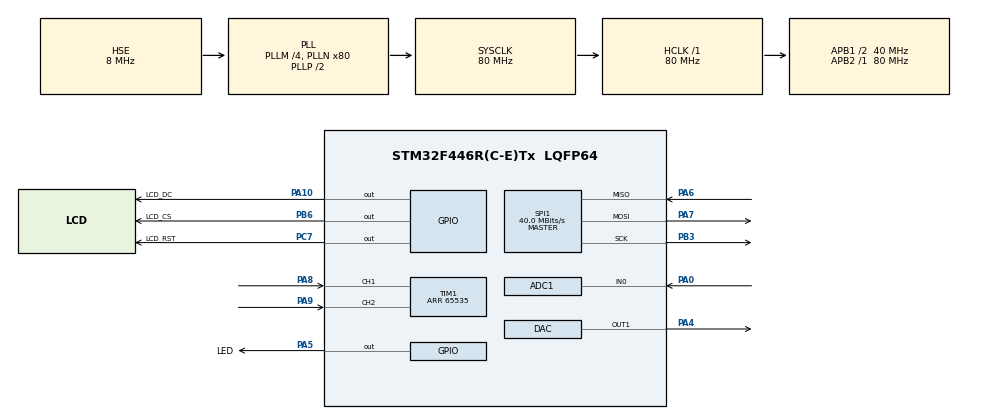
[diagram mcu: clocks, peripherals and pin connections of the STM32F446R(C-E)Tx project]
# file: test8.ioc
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ADC1.Channel-0\#ChannelRegularConversion=ADC_CHANNEL_0
ADC1.ClockPrescaler=ADC_CLOCK_SYNC_PCLK_DIV8
ADC1.ContinuousConvMode=ENABLE
ADC1.ExternalTrigConv=ADC_SOFTWARE_START
ADC1.NbrOfConversionFlag=1
ADC1.Rank-0\#ChannelRegularConversion=1
ADC1.SamplingTime-0\#ChannelRegularConversion=ADC_SAMPLETIME_3CYCLES
ADC1.master=1
DAC.DAC_Trigger=DAC_TRIGGER_T2_TRGO
Dma.ADC1.0.Direction=DMA_PERIPH_TO_MEMORY
Dma.ADC1.0.FIFOMode=DMA_FIFOMODE_DISABLE
Dma.ADC1.0.Instance=DMA2_Stream0
Dma.ADC1.0.MemDataAlignment=DMA_MDATAALIGN_WORD
Dma.ADC1.0.MemInc=DMA_MINC_ENABLE
Dma.ADC1.0.Mode=DMA_NORMAL
Dma.ADC1.0.PeriphDataAlignment=DMA_PDATAALIGN_WORD
Dma.ADC1.0.PeriphInc=DMA_PINC_DISABLE
Dma.ADC1.0.Priority=DMA_PRIORITY_HIGH
Dma.Request0=ADC1
Mcu.Family=STM32F4
Mcu.Name=STM32F446R(C-E)Tx
Mcu.Package=LQFP64
NVIC.DMA2_Stream0_IRQn=true\:0\:0\:false\:false\:true\:false\:true\:true
NVIC.PriorityGroup=NVIC_PRIORITYGROUP_0
NVIC.TIM1_UP_TIM10_IRQn=true\:0\:0\:false\:false\:true\:true\:true\:true
PA0-WKUP.Signal=ADCx_IN0
PA10.GPIO_Label=LCD_DC
PA10.GPIO_Speed=GPIO_SPEED_FREQ_HIGH
PA10.Signal=GPIO_Output
PA4.Signal=COMP_DAC1_group
PA5.GPIO_Label=LED
PA5.GPIO_Speed=GPIO_SPEED_FREQ_HIGH
PA5.Signal=GPIO_Output
PA6.Mode=Full_Duplex_Master
PA6.Signal=SPI1_MISO
PA7.Mode=Full_Duplex_Master
PA7.Signal=SPI1_MOSI
PA8.Signal=S_TIM1_CH1
PA9.Signal=S_TIM1_CH2
PB3.Mode=Full_Duplex_Master
PB3.Signal=SPI1_SCK
PB6.GPIO_Label=LCD_CS
PB6.GPIO_Speed=GPIO_SPEED_FREQ_HIGH
PB6.Signal=GPIO_Output
PC7.GPIO_Label=LCD_RST
PC7.GPIO_Speed=GPIO_SPEED_FREQ_HIGH
PC7.Signal=GPIO_Output
PH0-OSC_IN.Mode=HSE-External-Oscillator
PH0-OSC_IN.Signal=RCC_OSC_IN
PH1-OSC_OUT.Mode=HSE-External-Oscillator
PH1-OSC_OUT.Signal=RCC_OSC_OUT
ProjectManager.HeapSize=0x200
ProjectManager.StackSize=0x400
ProjectManager.TargetToolchain=MDK-ARM V5
RCC.AHBFreq_Value=80000000
RCC.APB1CLKDivider=RCC_HCLK_DIV2
RCC.APB1Freq_Value=40000000
RCC.APB1TimFreq_Value=80000000
RCC.APB2Freq_Value=80000000
RCC.APB2TimFreq_Value=80000000
RCC.CortexFreq_Value=80000000
RCC.FLatency-AdvancedSettings=FLASH_LATENCY_2
RCC.HCLKFreq_Value=80000000
RCC.HSE_VALUE=8000000
RCC.HSI_VALUE=16000000
RCC.LSE_VALUE=32768
RCC.PLLM=4
RCC.PLLN=80
RCC.PLLSourceVirtual=RCC_PLLSOURCE_HSE
RCC.RCC_TIM_PRescaler_Selection=RCC_TIMPRES_ACTIVATED
RCC.SYSCLKFreq_VALUE=80000000
RCC.SYSCLKSource=RCC_SYSCLKSOURCE_PLLCLK
RCC.USBFreq_Value=80000000
RCC.VCOOutputFreq_Value=160000000
SH.ADCx_IN0.0=ADC1_IN0,IN0
SH.COMP_DAC1_group.0=DAC_OUT1,DAC_OUT1
SH.S_TIM1_CH1.0=TIM1_CH1,Encoder_Interface
SH.S_TIM1_CH2.0=TIM1_CH2,Encoder_Interface
SPI1.CalculateBaudRate=40.0 MBits/s
SPI1.Direction=SPI_DIRECTION_2LINES
SPI1.Mode=SPI_MODE_MASTER
SPI1.VirtualType=VM_MASTER
TIM1.Period=65535
TIM8.Period=124
TIM8.TIM_MasterOutputTrigger=TIM_TRGO_UPDATE
VP_TIM10_VS_ClockSourceINT.Mode=Enable_Timer
VP_TIM8_VS_ClockSourceINT.Mode=Internal
board=NUCLEO-F446RE

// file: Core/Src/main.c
/* USER CODE BEGIN Header */
/**
  ******************************************************************************
  * @file           : main.c
  * @brief          : Main program body
  ******************************************************************************
  * @attention
  *
  * Copyright (c) 2022 STMicroelectronics.
  * All rights reserved.
  *
  * This software is licensed under terms that can be found in the LICENSE file
  * in the root directory of this software component.
  * If no LICENSE file comes with this software, it is provided AS-IS.
  *
  ******************************************************************************
  */
/* USER CODE END Header */
#include "main.h"

/* USER CODE BEGIN Includes */
#include "ili9341.h"
/* USER CODE END Includes */

/* USER CODE BEGIN PTD */
#define SAMPLES		256*4
#define MAX_DIGITAL		255
int32_t prevCounter = 1;
int32_t a = 1;
uint32_t SampleScaller;
uint16_t V_Offest;
uint16_t VoltDiv;
uint32_t TimeDiv;
uint32_t dt = (18*1000)/60;
uint16_t AdcArr[SAMPLES];
uint16_t minVal;
uint16_t avg;
uint16_t maxVal;
uint32_t adc[SAMPLES];
uint16_t maxX = 320;
uint16_t maxY = 240;
#define NS  128
uint16_t num = 0;
int i, j;
long loc_y, loc_x, prev_loc_x, prev_loc_y;
float DigitalScaller;
long map(long x, long in_min, long in_max, long out_min, long out_max)
{
	return (x - in_min) * (out_max - out_min) / (in_max - in_min) + out_min;
}
uint16_t find_min (uint16_t * array, uint32_t arr_size)
{
	uint16_t _min = array[0];
	for (int c = 1; c < arr_size; c++)
	{
		if (array[c] < _min)	_min  = array[c];
	}
	return _min;
}
uint16_t find_max (uint16_t * array, uint32_t arr_size)
{
	uint16_t _max = array[0];
	for (int c = 1; c < arr_size; c++)
	{
		if (array[c] > _max)	_max  = array[c];
	}
	return _max;
}

/* USER CODE END PTD */

ADC_HandleTypeDef hadc1;
DMA_HandleTypeDef hdma_adc1;

DAC_HandleTypeDef hdac;

SPI_HandleTypeDef hspi1;

TIM_HandleTypeDef htim1;
TIM_HandleTypeDef htim8;
TIM_HandleTypeDef htim10;

void SystemClock_Config(void);
void PeriphCommonClock_Config(void);
static void MX_GPIO_Init(void);
static void MX_DMA_Init(void);
static void MX_ADC1_Init(void);
static void MX_DAC_Init(void);
static void MX_SPI1_Init(void);
static void MX_TIM1_Init(void);
static void MX_TIM8_Init(void);
static void MX_TIM10_Init(void);
/* USER CODE BEGIN PFP */

void OSC_Process_Samples();
void OSC_Draw_Samples();
void OSC_Clear_Screen();
void adc_input();
void encoder();
void Start_Ecran();
/* USER CODE END PFP */

int main(void)
{

  /* MCU Configuration--------------------------------------------------------*/

  /* Reset of all peripherals, Initializes the Flash interface and the Systick. */
  HAL_Init();

  /* Configure the system clock */
  SystemClock_Config();

/* Configure the peripherals common clocks */
  PeriphCommonClock_Config();

  /* Initialize all configured peripherals */
  MX_GPIO_Init();
  MX_DMA_Init();
  MX_ADC1_Init();
  MX_DAC_Init();
  MX_SPI1_Init();
  MX_TIM1_Init();
  MX_TIM8_Init();
  MX_TIM10_Init();
  /* USER CODE BEGIN 2 */
//    HAL_TIM_Base_Start(&htim2);
//    HAL_DAC_Start_DMA(&hdac, DAC_CHANNEL_1, (uint32_t*)Sin, NS, DAC_ALIGN_12B_R);
//    HAL_ADC_Start_IT(&hadc1);
//    HAL_TIM_Base_Start_IT(&htim1);
    HAL_TIM_Encoder_Start(&htim1,TIM_CHANNEL_ALL);
    ILI9341_Init(&hspi1, LCD_CS_GPIO_Port, LCD_CS_Pin, LCD_DC_GPIO_Port, LCD_DC_Pin, LCD_RST_GPIO_Port, LCD_RST_Pin);
	ILI9341_setRotation(2);
    Start_Ecran();
    TimeDiv = 1000; 		// in nano seconds
    VoltDiv = 200;			// in milli volt
    V_Offest	= 100;			// in pixel unit
    DigitalScaller = (MAX_DIGITAL*3.2) / (6 * VoltDiv);

//    Change_Voffest();
    uint16_t f = 0;

  /* USER CODE END 2 */

  /* Infinite loop */
  /* USER CODE BEGIN WHILE */
  while (1)
  {
        encoder();
        adc_input();
      OSC_Process_Samples();
      OSC_Draw_Samples();
      OSC_Clear_Screen();
    /* USER CODE END WHILE */

  }
}

void SystemClock_Config(void)
{
  RCC_OscInitTypeDef RCC_OscInitStruct = {0};
  RCC_ClkInitTypeDef RCC_ClkInitStruct = {0};

  /** Configure the main internal regulator output voltage
  */
  __HAL_RCC_PWR_CLK_ENABLE();
  __HAL_PWR_VOLTAGESCALING_CONFIG(PWR_REGULATOR_VOLTAGE_SCALE3);

  /** Initializes the RCC Oscillators according to the specified parameters
  * in the RCC_OscInitTypeDef structure.
  */
  RCC_OscInitStruct.OscillatorType = RCC_OSCILLATORTYPE_HSE;
  RCC_OscInitStruct.HSEState = RCC_HSE_ON;
  RCC_OscInitStruct.PLL.PLLState = RCC_PLL_ON;
  RCC_OscInitStruct.PLL.PLLSource = RCC_PLLSOURCE_HSE;
  RCC_OscInitStruct.PLL.PLLM = 4;
  RCC_OscInitStruct.PLL.PLLN = 80;
  RCC_OscInitStruct.PLL.PLLP = RCC_PLLP_DIV2;
  RCC_OscInitStruct.PLL.PLLQ = 2;
  RCC_OscInitStruct.PLL.PLLR = 2;
  if (HAL_RCC_OscConfig(&RCC_OscInitStruct) != HAL_OK)
  {
    Error_Handler();
  }

  /** Initializes the CPU, AHB and APB buses clocks
  */
  RCC_ClkInitStruct.ClockType = RCC_CLOCKTYPE_HCLK|RCC_CLOCKTYPE_SYSCLK
                              |RCC_CLOCKTYPE_PCLK1|RCC_CLOCKTYPE_PCLK2;
  RCC_ClkInitStruct.SYSCLKSource = RCC_SYSCLKSOURCE_PLLCLK;
  RCC_ClkInitStruct.AHBCLKDivider = RCC_SYSCLK_DIV1;
  RCC_ClkInitStruct.APB1CLKDivider = RCC_HCLK_DIV2;
  RCC_ClkInitStruct.APB2CLKDivider = RCC_HCLK_DIV1;

  if (HAL_RCC_ClockConfig(&RCC_ClkInitStruct, FLASH_LATENCY_2) != HAL_OK)
  {
    Error_Handler();
  }
}

void PeriphCommonClock_Config(void)
{
  RCC_PeriphCLKInitTypeDef PeriphClkInitStruct = {0};

  /** Initializes the peripherals clock
  */
  PeriphClkInitStruct.PeriphClockSelection = RCC_PERIPHCLK_TIM;
  PeriphClkInitStruct.TIMPresSelection = RCC_TIMPRES_ACTIVATED;
  if (HAL_RCCEx_PeriphCLKConfig(&PeriphClkInitStruct) != HAL_OK)
  {
    Error_Handler();
  }
}

static void MX_ADC1_Init(void)
{

  ADC_ChannelConfTypeDef sConfig = {0};

  /** Configure the global features of the ADC (Clock, Resolution, Data Alignment and number of conversion)
  */
  hadc1.Instance = ADC1;
  hadc1.Init.ClockPrescaler = ADC_CLOCK_SYNC_PCLK_DIV8;
  hadc1.Init.Resolution = ADC_RESOLUTION_12B;
  hadc1.Init.ScanConvMode = DISABLE;
  hadc1.Init.ContinuousConvMode = ENABLE;
  hadc1.Init.DiscontinuousConvMode = DISABLE;
  hadc1.Init.ExternalTrigConvEdge = ADC_EXTERNALTRIGCONVEDGE_NONE;
  hadc1.Init.ExternalTrigConv = ADC_SOFTWARE_START;
  hadc1.Init.DataAlign = ADC_DATAALIGN_RIGHT;
  hadc1.Init.NbrOfConversion = 1;
  hadc1.Init.DMAContinuousRequests = DISABLE;
  hadc1.Init.EOCSelection = ADC_EOC_SINGLE_CONV;
  if (HAL_ADC_Init(&hadc1) != HAL_OK)
  {
    Error_Handler();
  }

  /** Configure for the selected ADC regular channel its corresponding rank in the sequencer and its sample time.
  */
  sConfig.Channel = ADC_CHANNEL_0;
  sConfig.Rank = 1;
  sConfig.SamplingTime = ADC_SAMPLETIME_3CYCLES;
  if (HAL_ADC_ConfigChannel(&hadc1, &sConfig) != HAL_OK)
  {
    Error_Handler();
  }

}

static void MX_DAC_Init(void)
{

  DAC_ChannelConfTypeDef sConfig = {0};

  /** DAC Initialization
  */
  hdac.Instance = DAC;
  if (HAL_DAC_Init(&hdac) != HAL_OK)
  {
    Error_Handler();
  }

  /** DAC channel OUT1 config
  */
  sConfig.DAC_Trigger = DAC_TRIGGER_T2_TRGO;
  sConfig.DAC_OutputBuffer = DAC_OUTPUTBUFFER_ENABLE;
  if (HAL_DAC_ConfigChannel(&hdac, &sConfig, DAC_CHANNEL_1) != HAL_OK)
  {
    Error_Handler();
  }

}

static void MX_SPI1_Init(void)
{

  /* SPI1 parameter configuration*/
  hspi1.Instance = SPI1;
  hspi1.Init.Mode = SPI_MODE_MASTER;
  hspi1.Init.Direction = SPI_DIRECTION_2LINES;
  hspi1.Init.DataSize = SPI_DATASIZE_8BIT;
  hspi1.Init.CLKPolarity = SPI_POLARITY_LOW;
  hspi1.Init.CLKPhase = SPI_PHASE_1EDGE;
  hspi1.Init.NSS = SPI_NSS_SOFT;
  hspi1.Init.BaudRatePrescaler = SPI_BAUDRATEPRESCALER_2;
  hspi1.Init.FirstBit = SPI_FIRSTBIT_MSB;
  hspi1.Init.TIMode = SPI_TIMODE_DISABLE;
  hspi1.Init.CRCCalculation = SPI_CRCCALCULATION_DISABLE;
  hspi1.Init.CRCPolynomial = 10;
  if (HAL_SPI_Init(&hspi1) != HAL_OK)
  {
    Error_Handler();
  }

}

static void MX_TIM1_Init(void)
{

  TIM_Encoder_InitTypeDef sConfig = {0};
  TIM_MasterConfigTypeDef sMasterConfig = {0};

  htim1.Instance = TIM1;
  htim1.Init.Prescaler = 0;
  htim1.Init.CounterMode = TIM_COUNTERMODE_UP;
  htim1.Init.Period = 65535;
  htim1.Init.ClockDivision = TIM_CLOCKDIVISION_DIV1;
  htim1.Init.RepetitionCounter = 0;
  htim1.Init.AutoReloadPreload = TIM_AUTORELOAD_PRELOAD_DISABLE;
  sConfig.EncoderMode = TIM_ENCODERMODE_TI1;
  sConfig.IC1Polarity = TIM_ICPOLARITY_RISING;
  sConfig.IC1Selection = TIM_ICSELECTION_DIRECTTI;
  sConfig.IC1Prescaler = TIM_ICPSC_DIV1;
  sConfig.IC1Filter = 0;
  sConfig.IC2Polarity = TIM_ICPOLARITY_RISING;
  sConfig.IC2Selection = TIM_ICSELECTION_DIRECTTI;
  sConfig.IC2Prescaler = TIM_ICPSC_DIV1;
  sConfig.IC2Filter = 0;
  if (HAL_TIM_Encoder_Init(&htim1, &sConfig) != HAL_OK)
  {
    Error_Handler();
  }
  sMasterConfig.MasterOutputTrigger = TIM_TRGO_RESET;
  sMasterConfig.MasterSlaveMode = TIM_MASTERSLAVEMODE_DISABLE;
  if (HAL_TIMEx_MasterConfigSynchronization(&htim1, &sMasterConfig) != HAL_OK)
  {
    Error_Handler();
  }

}

static void MX_TIM8_Init(void)
{

  TIM_ClockConfigTypeDef sClockSourceConfig = {0};
  TIM_MasterConfigTypeDef sMasterConfig = {0};

  htim8.Instance = TIM8;
  htim8.Init.Prescaler = 0;
  htim8.Init.CounterMode = TIM_COUNTERMODE_UP;
  htim8.Init.Period = 124;
  htim8.Init.ClockDivision = TIM_CLOCKDIVISION_DIV1;
  htim8.Init.RepetitionCounter = 0;
  htim8.Init.AutoReloadPreload = TIM_AUTORELOAD_PRELOAD_DISABLE;
  if (HAL_TIM_Base_Init(&htim8) != HAL_OK)
  {
    Error_Handler();
  }
  sClockSourceConfig.ClockSource = TIM_CLOCKSOURCE_INTERNAL;
  if (HAL_TIM_ConfigClockSource(&htim8, &sClockSourceConfig) != HAL_OK)
  {
    Error_Handler();
  }
  sMasterConfig.MasterOutputTrigger = TIM_TRGO_UPDATE;
  sMasterConfig.MasterSlaveMode = TIM_MASTERSLAVEMODE_DISABLE;
  if (HAL_TIMEx_MasterConfigSynchronization(&htim8, &sMasterConfig) != HAL_OK)
  {
    Error_Handler();
  }

}

static void MX_TIM10_Init(void)
{

  htim10.Instance = TIM10;
  htim10.Init.Prescaler = 0;
  htim10.Init.CounterMode = TIM_COUNTERMODE_UP;
  htim10.Init.Period = 65535;
  htim10.Init.ClockDivision = TIM_CLOCKDIVISION_DIV1;
  htim10.Init.AutoReloadPreload = TIM_AUTORELOAD_PRELOAD_DISABLE;
  if (HAL_TIM_Base_Init(&htim10) != HAL_OK)
  {
    Error_Handler();
  }

}

static void MX_DMA_Init(void)
{

  /* DMA controller clock enable */
  __HAL_RCC_DMA2_CLK_ENABLE();

  /* DMA interrupt init */
  /* DMA2_Stream0_IRQn interrupt configuration */
  HAL_NVIC_SetPriority(DMA2_Stream0_IRQn, 0, 0);
  HAL_NVIC_EnableIRQ(DMA2_Stream0_IRQn);

}

static void MX_GPIO_Init(void)
{
  GPIO_InitTypeDef GPIO_InitStruct = {0};

  /* GPIO Ports Clock Enable */
  __HAL_RCC_GPIOH_CLK_ENABLE();
  __HAL_RCC_GPIOA_CLK_ENABLE();
  __HAL_RCC_GPIOC_CLK_ENABLE();
  __HAL_RCC_GPIOB_CLK_ENABLE();

  /*Configure GPIO pin Output Level */
  HAL_GPIO_WritePin(GPIOA, LED_Pin|LCD_DC_Pin, GPIO_PIN_RESET);

  /*Configure GPIO pin Output Level */
  HAL_GPIO_WritePin(LCD_RST_GPIO_Port, LCD_RST_Pin, GPIO_PIN_RESET);

  /*Configure GPIO pin Output Level */
  HAL_GPIO_WritePin(LCD_CS_GPIO_Port, LCD_CS_Pin, GPIO_PIN_RESET);

  /*Configure GPIO pins : LED_Pin LCD_DC_Pin */
  GPIO_InitStruct.Pin = LED_Pin|LCD_DC_Pin;
  GPIO_InitStruct.Mode = GPIO_MODE_OUTPUT_PP;
  GPIO_InitStruct.Pull = GPIO_NOPULL;
  GPIO_InitStruct.Speed = GPIO_SPEED_FREQ_HIGH;
  HAL_GPIO_Init(GPIOA, &GPIO_InitStruct);

  /*Configure GPIO pin : LCD_RST_Pin */
  GPIO_InitStruct.Pin = LCD_RST_Pin;
  GPIO_InitStruct.Mode = GPIO_MODE_OUTPUT_PP;
  GPIO_InitStruct.Pull = GPIO_NOPULL;
  GPIO_InitStruct.Speed = GPIO_SPEED_FREQ_HIGH;
  HAL_GPIO_Init(LCD_RST_GPIO_Port, &GPIO_InitStruct);

  /*Configure GPIO pin : LCD_CS_Pin */
  GPIO_InitStruct.Pin = LCD_CS_Pin;
  GPIO_InitStruct.Mode = GPIO_MODE_OUTPUT_PP;
  GPIO_InitStruct.Pull = GPIO_NOPULL;
  GPIO_InitStruct.Speed = GPIO_SPEED_FREQ_HIGH;
  HAL_GPIO_Init(LCD_CS_GPIO_Port, &GPIO_InitStruct);

}

/* USER CODE BEGIN 4 */
void Start_Ecran()
{
    ILI9341_Fill_Rect(0,0,maxX, maxY, COLOR_BLACK);
    for(i=2; i < maxX; i+=20)
    {
    ILI9341_DrawPixel(i-2, maxY/2, COLOR_RED);
    ILI9341_DrawPixel(i-1, maxY/2, COLOR_RED);
    ILI9341_DrawPixel(i, maxY/2, COLOR_RED);
    ILI9341_DrawPixel(i+1, maxY/2, COLOR_RED);
    ILI9341_DrawPixel(i+2, maxY/2, COLOR_RED);
    ILI9341_DrawPixel(i+3, maxY/2, COLOR_RED);
    ILI9341_DrawPixel(i+4, maxY/2, COLOR_RED);
    }
    for(i=0; i <= maxY+2; i+=20)
    {
    ILI9341_DrawPixel(maxX/2, i-4, COLOR_RED);
    ILI9341_DrawPixel(maxX/2, i-3, COLOR_RED);
    ILI9341_DrawPixel(maxX/2, i-2, COLOR_RED);
    ILI9341_DrawPixel(maxX/2, i-1, COLOR_RED);
    ILI9341_DrawPixel(maxX/2, i, COLOR_RED);
    ILI9341_DrawPixel(maxX/2, i+1, COLOR_RED);
    ILI9341_DrawPixel(maxX/2, i+2, COLOR_RED);
    }
    for(i=3; i < maxX; i+=20)
    {
    for(j=0; j <= maxY+1; j+=20)
        {
    ILI9341_DrawPixel(i, j-1, COLOR_RED);
    }
}
}
void encoder()
{
    int32_t currCounter = __HAL_TIM_GET_COUNTER(&htim1);
    currCounter = 32768 - ((currCounter-1) & 0xFFFF)/2;
    if(currCounter >32768/2){
        currCounter = currCounter - 32768;
    }
    if(currCounter != prevCounter){
        int32_t delta = currCounter-prevCounter;
        prevCounter = currCounter;
        a = prevCounter;
        if((delta > 1)&&(delta<10)){
        }
    }
    if (a < 1){
        a=1;
    }
        TimeDiv = 1000*a;
        SampleScaller = (SAMPLES * dt) / (10 * TimeDiv);
}

void adc_input()
{
    HAL_ADC_Start_DMA(&hadc1,adc,SAMPLES);
      for (int i=0;i<SAMPLES; i++)
      {
      AdcArr[i]=adc[i];
      }

}
void OSC_Process_Samples()
{
	//DMA_Channel_Disable(DMA2, 0);
	minVal = find_min(AdcArr, SAMPLES);
	maxVal = find_max(AdcArr, SAMPLES);
}
void OSC_Draw_Samples()
{
    prev_loc_x = 0;
	prev_loc_y = map(AdcArr[0]*DigitalScaller, 0, MAX_DIGITAL, 100-V_Offest, 35);
	for (uint16_t j = 0; j < SAMPLES/SampleScaller; j++)
	{
		loc_x = map(j, 0, SAMPLES/SampleScaller, 0, 320);
		loc_y = map(AdcArr[j]*DigitalScaller, 0, MAX_DIGITAL, 100-V_Offest, 35);
		TFT_Draw_Line(prev_loc_x, prev_loc_y, loc_x, loc_y, COLOR_YELLOW);

		prev_loc_x = loc_x;
		prev_loc_y = loc_y;
	}
}
void OSC_Clear_Screen()
{
	for (uint16_t j = 0; j < SAMPLES/SampleScaller; j++)
	{
		loc_x = map(j, 0, SAMPLES/SampleScaller, 0, 320);
		loc_y = map(AdcArr[j]*DigitalScaller, 0, MAX_DIGITAL, 100-V_Offest, 35);
		TFT_Draw_Line(prev_loc_x, prev_loc_y, loc_x, loc_y,COLOR_BLACK);
		prev_loc_x = loc_x;
		prev_loc_y = loc_y;
	}

}

/* USER CODE END 4 */

void Error_Handler(void)
{
  __disable_irq();
  while (1)
  {
  }
}
